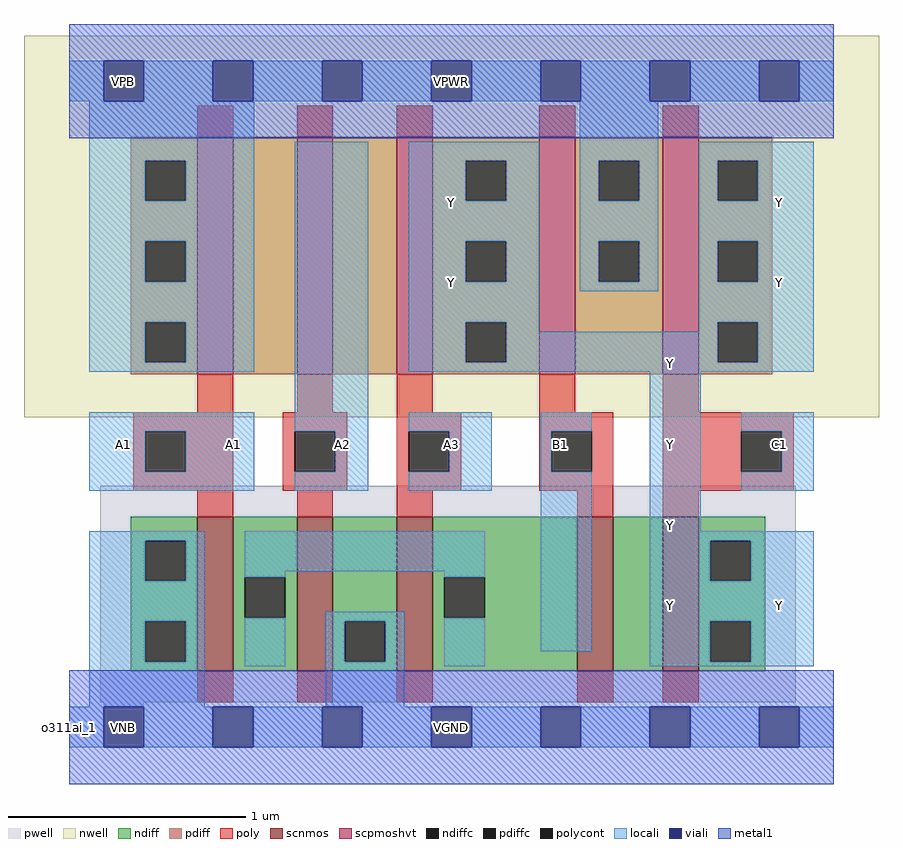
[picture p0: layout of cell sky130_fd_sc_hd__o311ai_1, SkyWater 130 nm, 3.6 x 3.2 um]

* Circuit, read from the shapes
.subckt sky130_fd_sc_hd__o311ai_1 A1 A2 A3 B1 C1 VGND VNB VPB VPWR Y
XM1 n1 A1 VGND VNB sky130_fd_pr__nfet_01v8 w=0.65 l=0.15
XM2 VGND A2 n1 VNB sky130_fd_pr__nfet_01v8 w=0.65 l=0.15
XM3 n1 A3 VGND VNB sky130_fd_pr__nfet_01v8 w=0.65 l=0.15
XM4 n2 B1 n1 VNB sky130_fd_pr__nfet_01v8 w=0.65 l=0.15
XM5 Y C1 n2 VNB sky130_fd_pr__nfet_01v8 w=0.65 l=0.15
XM6 n3 A1 VPWR VPB sky130_fd_pr__pfet_01v8_hvt w=1 l=0.15
XM7 n4 A2 n3 VPB sky130_fd_pr__pfet_01v8_hvt w=1 l=0.15
XM8 Y A3 n4 VPB sky130_fd_pr__pfet_01v8_hvt w=1 l=0.15
XM9 VPWR B1 Y VPB sky130_fd_pr__pfet_01v8_hvt w=1 l=0.15
XM10 Y C1 VPWR VPB sky130_fd_pr__pfet_01v8_hvt w=1 l=0.15
.ends

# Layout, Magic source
magic
tech sky130A
magscale 1 2
<< nwell >>
rect -38 261 682 582
<< pwell >>
rect 26 21 612 203
rect 29 -17 63 21
<< scnmos >>
rect 108 47 138 177
rect 192 47 222 177
rect 276 47 306 177
rect 428 47 458 177
rect 500 47 530 177
<< scpmoshvt >>
rect 108 297 138 497
rect 192 297 222 497
rect 276 297 306 497
rect 396 297 426 497
rect 500 297 530 497
<< ndiff >>
rect 52 157 108 177
rect 52 123 64 157
rect 98 123 108 157
rect 52 89 108 123
rect 52 55 64 89
rect 98 55 108 89
rect 52 47 108 55
rect 138 126 192 177
rect 138 92 148 126
rect 182 92 192 126
rect 138 47 192 92
rect 222 89 276 177
rect 222 55 232 89
rect 266 55 276 89
rect 222 47 276 55
rect 306 126 428 177
rect 306 92 316 126
rect 350 92 428 126
rect 306 47 428 92
rect 458 47 500 177
rect 530 157 586 177
rect 530 123 540 157
rect 574 123 586 157
rect 530 89 586 123
rect 530 55 540 89
rect 574 55 586 89
rect 530 47 586 55
<< pdiff >>
rect 52 477 108 497
rect 52 443 64 477
rect 98 443 108 477
rect 52 409 108 443
rect 52 375 64 409
rect 98 375 108 409
rect 52 341 108 375
rect 52 307 64 341
rect 98 307 108 341
rect 52 297 108 307
rect 138 297 192 497
rect 222 297 276 497
rect 306 477 396 497
rect 306 443 334 477
rect 368 443 396 477
rect 306 409 396 443
rect 306 375 334 409
rect 368 375 396 409
rect 306 341 396 375
rect 306 307 334 341
rect 368 307 396 341
rect 306 297 396 307
rect 426 477 500 497
rect 426 443 446 477
rect 480 443 500 477
rect 426 409 500 443
rect 426 375 446 409
rect 480 375 500 409
rect 426 297 500 375
rect 530 477 592 497
rect 530 443 546 477
rect 580 443 592 477
rect 530 409 592 443
rect 530 375 546 409
rect 580 375 592 409
rect 530 341 592 375
rect 530 307 546 341
rect 580 307 592 341
rect 530 297 592 307
<< ndiffc >>
rect 64 123 98 157
rect 64 55 98 89
rect 148 92 182 126
rect 232 55 266 89
rect 316 92 350 126
rect 540 123 574 157
rect 540 55 574 89
<< pdiffc >>
rect 64 443 98 477
rect 64 375 98 409
rect 64 307 98 341
rect 334 443 368 477
rect 334 375 368 409
rect 334 307 368 341
rect 446 443 480 477
rect 446 375 480 409
rect 546 443 580 477
rect 546 375 580 409
rect 546 307 580 341
<< poly >>
rect 108 497 138 523
rect 192 497 222 523
rect 276 497 306 523
rect 396 497 426 523
rect 500 497 530 523
rect 108 265 138 297
rect 192 265 222 297
rect 276 265 306 297
rect 396 265 426 297
rect 500 265 530 297
rect 54 249 138 265
rect 54 215 64 249
rect 98 215 138 249
rect 54 199 138 215
rect 180 249 234 265
rect 180 215 190 249
rect 224 215 234 249
rect 180 199 234 215
rect 276 249 330 265
rect 276 215 286 249
rect 320 215 330 249
rect 276 199 330 215
rect 396 249 458 265
rect 396 215 406 249
rect 440 215 458 249
rect 396 199 458 215
rect 108 177 138 199
rect 192 177 222 199
rect 276 177 306 199
rect 428 177 458 199
rect 500 249 610 265
rect 500 215 566 249
rect 600 215 610 249
rect 500 199 610 215
rect 500 177 530 199
rect 108 21 138 47
rect 192 21 222 47
rect 276 21 306 47
rect 428 21 458 47
rect 500 21 530 47
<< polycont >>
rect 64 215 98 249
rect 190 215 224 249
rect 286 215 320 249
rect 406 215 440 249
rect 566 215 600 249
<< locali >>
rect 0 527 29 561
rect 63 527 121 561
rect 155 527 213 561
rect 247 527 305 561
rect 339 527 397 561
rect 431 527 489 561
rect 523 527 581 561
rect 615 527 644 561
rect 17 477 156 527
rect 17 443 64 477
rect 98 443 156 477
rect 17 409 156 443
rect 17 375 64 409
rect 98 375 156 409
rect 17 341 156 375
rect 17 307 64 341
rect 98 307 156 341
rect 17 299 156 307
rect 17 249 156 265
rect 17 215 64 249
rect 98 215 156 249
rect 17 199 156 215
rect 190 249 252 493
rect 286 477 396 493
rect 286 443 334 477
rect 368 443 396 477
rect 286 409 396 443
rect 286 375 334 409
rect 368 375 396 409
rect 286 341 396 375
rect 430 477 496 527
rect 430 443 446 477
rect 480 443 496 477
rect 430 409 496 443
rect 430 375 446 409
rect 480 375 496 409
rect 430 367 496 375
rect 530 477 627 493
rect 530 443 546 477
rect 580 443 627 477
rect 530 409 627 443
rect 530 375 546 409
rect 580 375 627 409
rect 286 307 334 341
rect 368 333 396 341
rect 530 341 627 375
rect 530 333 546 341
rect 368 307 546 333
rect 580 307 627 341
rect 286 299 627 307
rect 224 215 252 249
rect 190 199 252 215
rect 286 249 356 265
rect 320 215 356 249
rect 286 199 356 215
rect 397 249 440 265
rect 397 215 406 249
rect 17 157 114 165
rect 17 123 64 157
rect 98 123 114 157
rect 17 89 114 123
rect 17 55 64 89
rect 98 55 114 89
rect 17 17 114 55
rect 148 131 350 165
rect 148 126 182 131
rect 316 126 350 131
rect 148 51 182 92
rect 216 89 282 97
rect 216 55 232 89
rect 266 55 282 89
rect 216 17 282 55
rect 316 51 350 92
rect 397 64 440 215
rect 489 165 532 299
rect 566 249 627 265
rect 600 215 627 249
rect 566 199 627 215
rect 489 157 627 165
rect 489 123 540 157
rect 574 123 627 157
rect 489 89 627 123
rect 489 55 540 89
rect 574 55 627 89
rect 489 51 627 55
rect 0 -17 29 17
rect 63 -17 121 17
rect 155 -17 213 17
rect 247 -17 305 17
rect 339 -17 397 17
rect 431 -17 489 17
rect 523 -17 581 17
rect 615 -17 644 17
<< viali >>
rect 29 527 63 561
rect 121 527 155 561
rect 213 527 247 561
rect 305 527 339 561
rect 397 527 431 561
rect 489 527 523 561
rect 581 527 615 561
rect 29 -17 63 17
rect 121 -17 155 17
rect 213 -17 247 17
rect 305 -17 339 17
rect 397 -17 431 17
rect 489 -17 523 17
rect 581 -17 615 17
<< metal1 >>
rect 0 561 644 592
rect 0 527 29 561
rect 63 527 121 561
rect 155 527 213 561
rect 247 527 305 561
rect 339 527 397 561
rect 431 527 489 561
rect 523 527 581 561
rect 615 527 644 561
rect 0 496 644 527
rect 0 17 644 48
rect 0 -17 29 17
rect 63 -17 121 17
rect 155 -17 213 17
rect 247 -17 305 17
rect 339 -17 397 17
rect 431 -17 489 17
rect 523 -17 581 17
rect 615 -17 644 17
rect 0 -48 644 -17
<< labels >>
flabel locali s 581 85 615 119 0 FreeSans 200 0 0 0 Y
port 10 nsew signal output
flabel locali s 29 221 63 255 0 FreeSans 200 0 0 0 A1
port 1 nsew signal input
flabel locali s 213 221 247 255 0 FreeSans 200 0 0 0 A2
port 2 nsew signal input
flabel locali s 305 221 339 255 0 FreeSans 200 0 0 0 A3
port 3 nsew signal input
flabel locali s 397 221 431 255 0 FreeSans 200 0 0 0 B1
port 4 nsew signal input
flabel locali s 581 221 615 255 0 FreeSans 200 0 0 0 C1
port 5 nsew signal input
flabel locali s 121 221 155 255 0 FreeSans 200 0 0 0 A1
port 1 nsew signal input
flabel locali s 489 153 523 187 0 FreeSans 200 0 0 0 Y
port 10 nsew signal output
flabel locali s 489 221 523 255 0 FreeSans 200 0 0 0 Y
port 10 nsew signal output
flabel locali s 489 85 523 119 0 FreeSans 200 0 0 0 Y
port 10 nsew signal output
flabel locali s 489 289 523 323 0 FreeSans 200 0 0 0 Y
port 10 nsew signal output
flabel locali s 305 357 339 391 0 FreeSans 200 0 0 0 Y
port 10 nsew signal output
flabel locali s 305 425 339 459 0 FreeSans 200 0 0 0 Y
port 10 nsew signal output
flabel locali s 581 425 615 459 0 FreeSans 200 0 0 0 Y
port 10 nsew signal output
flabel locali s 581 357 615 391 0 FreeSans 200 0 0 0 Y
port 10 nsew signal output
flabel nwell s 29 527 63 561 0 FreeSans 200 0 0 0 VPB
port 8 nsew power bidirectional
flabel pwell s 29 -17 63 17 0 FreeSans 200 0 0 0 VNB
port 7 nsew ground bidirectional
flabel metal1 s 29 -17 63 17 0 FreeSans 200 0 0 0 VGND
port 6 nsew ground bidirectional abutment
flabel metal1 s 29 527 63 561 0 FreeSans 200 0 0 0 VPWR
port 9 nsew power bidirectional abutment
rlabel comment s 0 0 0 0 4 o311ai_1
rlabel metal1 s 0 -48 644 48 1 VGND
port 6 nsew ground bidirectional abutment
rlabel metal1 s 0 496 644 592 1 VPWR
port 9 nsew power bidirectional abutment
<< properties >>
string FIXED_BBOX 0 0 644 544
string GDS_END 909094
string GDS_FILE $PDKPATH/libs.ref/sky130_fd_sc_hd/gds/sky130_fd_sc_hd.gds
string GDS_START 902246
string LEFclass CORE
string LEFsite unithd
string LEFsymmetry X Y R90
string path 0.000 0.000 3.220 0.000 
<< end >>
